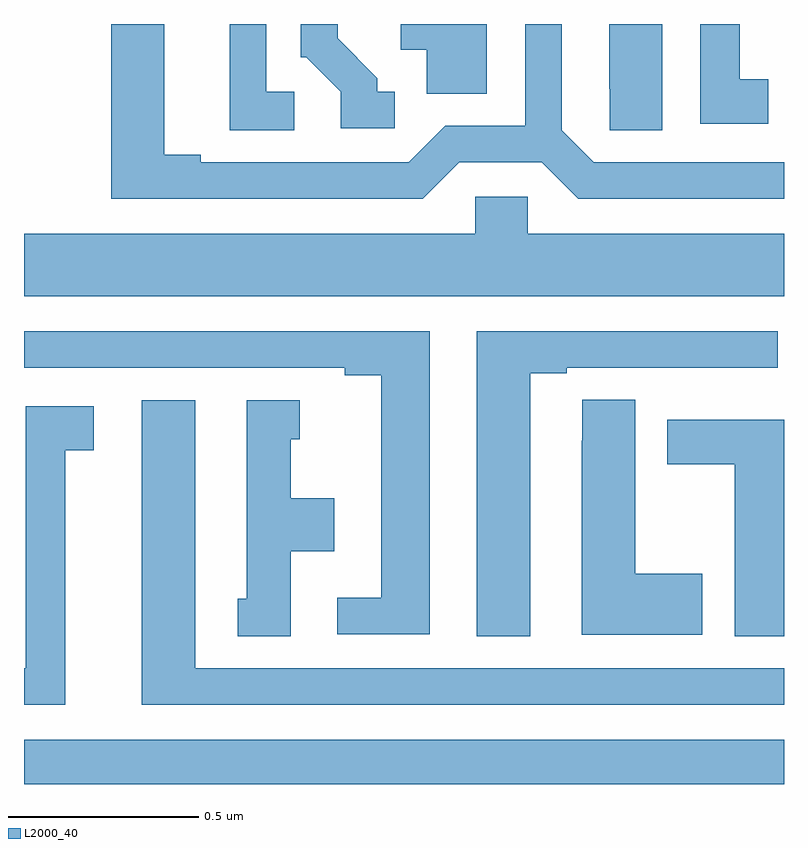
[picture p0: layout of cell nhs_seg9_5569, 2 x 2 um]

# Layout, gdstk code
import gdstk
lib = gdstk.Library(unit=1e-6, precision=1e-09)
def R(c, l, rs):  # rectangles x0, y0, x1, y1
    for r in rs: c.add(gdstk.rectangle(r[:2], r[2:], *l))
def P(c, l, *ps):  # polygons
    for p in ps: c.add(gdstk.Polygon(p, *l))
L2000_40 = (2000, 40)

nhs_seg9_5569 = lib.new_cell('nhs_seg9_5569')
R(nhs_seg9_5569, L2000_40, [(181,1164.5,183,1164.616)])
P(nhs_seg9_5569, L2000_40, [(182.145,1166.136),(182.363,1166.136),(182.459,1166.04),(183,1166.04),(183,1166.136),(182.499,1166.136),(182.415,1166.22),(182.415,1166.5),(182.319,1166.5),(182.319,1166.232),(182.109,1166.232),(182.013,1166.136),(181.465,1166.136),(181.465,1166.156),(181.369,1166.156),(181.369,1166.5),(181.229,1166.5),(181.229,1166.04),(182.049,1166.04)],
  [(181.711,1166.322),(181.638,1166.322),(181.638,1166.5),(181.541,1166.5),(181.541,1166.221),(181.711,1166.221)],
  [(182.218,1166.5),(181.991,1166.5),(181.991,1166.432),(182.06,1166.432),(182.06,1166.317),(182.218,1166.317)],
  [(182.959,1166.354),(182.884,1166.354),(182.884,1166.5),(182.78,1166.5),(182.78,1166.238),(182.959,1166.238)],
  [(181.975,1166.322),(181.93,1166.322),(181.93,1166.357),(181.825,1166.462),(181.825,1166.5),(181.728,1166.5),(181.728,1166.412),(181.743,1166.412),(181.833,1166.322),(181.833,1166.226),(181.975,1166.226)],
  [(182.68,1166.5),(182.54,1166.5),(182.54,1166.329),(182.541,1166.329),(182.541,1166.221),(182.68,1166.221)],
  [(183,1165.948),(182.325,1165.948),(182.325,1166.046),(182.187,1166.046),(182.187,1165.948),(181,1165.948),(181,1165.784),(183,1165.784)],
  [(182.068,1165.692),(181,1165.692),(181,1165.596),(181.844,1165.596),(181.844,1165.576),(181.94,1165.576),(181.94,1164.99),(181.824,1164.99),(181.824,1164.894),(182.068,1164.894)],
  [(182.332,1165.581),(182.428,1165.581),(182.428,1165.596),(182.704,1165.596),(182.704,1165.595),(182.87,1165.595),(182.87,1165.596),(182.983,1165.596),(182.983,1165.692),(182.192,1165.692),(182.192,1164.889),(182.332,1164.889)],
  [(182.785,1165.053),(182.608,1165.053),(182.608,1165.511),(182.469,1165.511),(182.469,1165.403),(182.468,1165.403),(182.468,1164.893),(182.785,1164.893)],
  [(181.702,1165.112),(181.816,1165.112),(181.816,1165.252),(181.702,1165.252),(181.702,1165.407),(181.726,1165.407),(181.726,1165.51),(181.586,1165.51),(181.586,1164.987),(181.562,1164.987),(181.562,1164.889),(181.702,1164.889)],
  [(183,1164.804),(181.45,1164.804),(181.45,1165.51),(181.31,1165.51),(181.31,1164.708),(183,1164.708)],
  [(181.108,1165.378),(181.183,1165.378),(181.183,1165.494),(181.004,1165.494),(181.004,1164.804),(181,1164.804),(181,1164.708),(181.108,1164.708)],
  [(183,1165.458),(182.693,1165.458),(182.693,1165.342),(182.87,1165.342),(182.87,1164.889),(183,1164.889)])

lib.write_gds('nhs_seg9_5569.gds')
